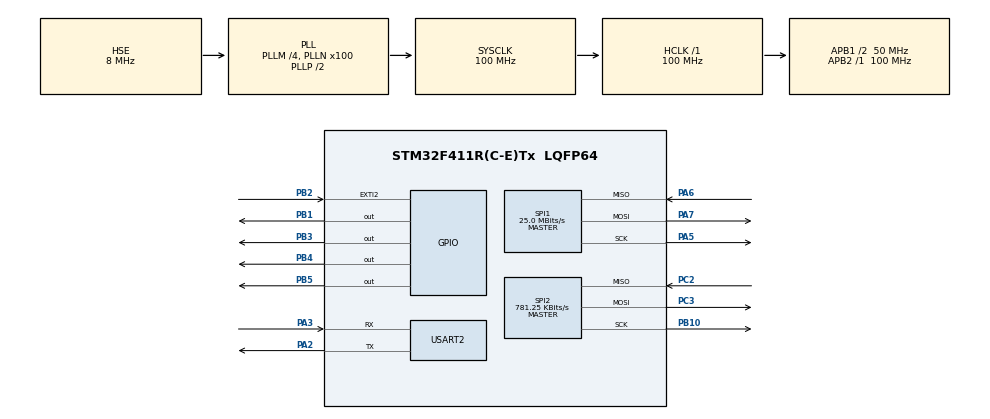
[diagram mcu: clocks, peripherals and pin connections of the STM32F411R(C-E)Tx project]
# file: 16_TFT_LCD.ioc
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Mcu.Family=STM32F4
Mcu.Name=STM32F411R(C-E)Tx
Mcu.Package=LQFP64
NVIC.EXTI2_IRQn=true\:0\:0\:false\:false\:true\:true\:true\:true
NVIC.PriorityGroup=NVIC_PRIORITYGROUP_4
PA13.Mode=Serial_Wire
PA13.Signal=SYS_JTMS-SWDIO
PA14.Mode=Serial_Wire
PA14.Signal=SYS_JTCK-SWCLK
PA2.Mode=Asynchronous
PA2.Signal=USART2_TX
PA3.Mode=Asynchronous
PA3.Signal=USART2_RX
PA5.Mode=Full_Duplex_Master
PA5.Signal=SPI1_SCK
PA6.Mode=Full_Duplex_Master
PA6.Signal=SPI1_MISO
PA7.Mode=Full_Duplex_Master
PA7.Signal=SPI1_MOSI
PB1.Signal=GPIO_Output
PB10.Mode=Full_Duplex_Master
PB10.Signal=SPI2_SCK
PB2.GPIO_ModeDefaultEXTI=GPIO_MODE_IT_FALLING
PB2.GPIO_PuPd=GPIO_PULLUP
PB2.Signal=GPXTI2
PB3.Signal=GPIO_Output
PB4.Signal=GPIO_Output
PB5.Signal=GPIO_Output
PC2.Mode=Full_Duplex_Master
PC2.Signal=SPI2_MISO
PC3.Mode=Full_Duplex_Master
PC3.Signal=SPI2_MOSI
PH0\ -\ OSC_IN.Mode=HSE-External-Oscillator
PH0\ -\ OSC_IN.Signal=RCC_OSC_IN
PH1\ -\ OSC_OUT.Mode=HSE-External-Oscillator
PH1\ -\ OSC_OUT.Signal=RCC_OSC_OUT
ProjectManager.HeapSize=0x200
ProjectManager.StackSize=0x400
ProjectManager.TargetToolchain=STM32CubeIDE
RCC.48MHZClocksFreq_Value=50000000
RCC.AHBFreq_Value=100000000
RCC.APB1CLKDivider=RCC_HCLK_DIV2
RCC.APB1Freq_Value=50000000
RCC.APB1TimFreq_Value=100000000
RCC.APB2Freq_Value=100000000
RCC.APB2TimFreq_Value=100000000
RCC.CortexFreq_Value=100000000
RCC.HCLKFreq_Value=100000000
RCC.HSE_VALUE=8000000
RCC.HSI_VALUE=16000000
RCC.LSE_VALUE=32768
RCC.PLLM=4
RCC.PLLN=100
RCC.PLLSourceVirtual=RCC_PLLSOURCE_HSE
RCC.SYSCLKFreq_VALUE=100000000
RCC.SYSCLKSource=RCC_SYSCLKSOURCE_PLLCLK
RCC.VCOOutputFreq_Value=200000000
SPI1.BaudRatePrescaler=SPI_BAUDRATEPRESCALER_4
SPI1.CalculateBaudRate=25.0 MBits/s
SPI1.Direction=SPI_DIRECTION_2LINES
SPI1.Mode=SPI_MODE_MASTER
SPI1.VirtualType=VM_MASTER
SPI2.BaudRatePrescaler=SPI_BAUDRATEPRESCALER_64
SPI2.CalculateBaudRate=781.25 KBits/s
SPI2.Direction=SPI_DIRECTION_2LINES
SPI2.Mode=SPI_MODE_MASTER
SPI2.VirtualType=VM_MASTER
USART2.VirtualMode=VM_ASYNC
board=custom

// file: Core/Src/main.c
/* USER CODE BEGIN Header */
/**
  ******************************************************************************
  * @file           : main.c
  * @brief          : Main program body
  ******************************************************************************
  * @attention
  *
  * Copyright (c) 2025 STMicroelectronics.
  * All rights reserved.
  *
  * This software is licensed under terms that can be found in the LICENSE file
  * in the root directory of this software component.
  * If no LICENSE file comes with this software, it is provided AS-IS.
  *
  ******************************************************************************
  */
/* USER CODE END Header */
#include "main.h"
#include "spi.h"
#include "usart.h"
#include "gpio.h"

/* USER CODE BEGIN Includes */
#include <stdio.h>

#include "lcd.h"
#include "lcdfont.h"
#include "lcdtouch.h"
/* USER CODE END Includes */

/* USER CODE BEGIN PV */
char buf[32];
uint16_t tx = 0, ty = 0;
uint8_t lcdTouch;
/* USER CODE END PV */

void SystemClock_Config(void);
/* USER CODE BEGIN PFP */
// printf 같은 함수 출력 → UART Redirection
int _write(int file, unsigned char* p, int len) {
    HAL_StatusTypeDef status = HAL_UART_Transmit(&huart2, p, len, 100);
    return (status == HAL_OK ? len : 0);
}

void HAL_GPIO_EXTI_Callback(uint16_t GPIO_Pin) {
	if (GPIO_Pin == GPIO_PIN_2) {
		if (lcdTouch == 0) {
			lcdTouch = 1;
		}
	}
}
/* USER CODE END PFP */

int main(void)
{

  /* MCU Configuration--------------------------------------------------------*/

  /* Reset of all peripherals, Initializes the Flash interface and the Systick. */
  HAL_Init();

  /* Configure the system clock */
  SystemClock_Config();

  /* Initialize all configured peripherals */
  MX_GPIO_Init();
  MX_SPI1_Init();
  MX_USART2_UART_Init();
  MX_SPI2_Init();
  /* USER CODE BEGIN 2 */
  ILI9341_Init();
  TP_Init();
  ILI9341_FillScreen(COLOR_BLACK);
  ILI9341_DrawString(10,10,"Touch Test", COLOR_YELLOW, COLOR_BLACK);
  /* USER CODE END 2 */

  /* Infinite loop */
  /* USER CODE BEGIN WHILE */
  while (1)
  {
	  if (TP_GetXY(&tx, &ty)) {
		  tx = 240 - tx;
		  ty = 320 - ty;

		  if (tx >= 235)		tx = 235;
		  else if (tx <= 5)	tx = 5;

		  if (ty >= 315)		ty = 315;
		  else if (ty <= 5)	ty = 5;

		  sprintf(buf,"X:%03d Y:%03d", tx, ty);
		  ILI9341_DrawString(0, 300, buf, COLOR_GREEN, COLOR_BLACK);
		  ILI9341_DrawRect(tx-3, ty-3, 7, 7, COLOR_RED);
		  HAL_Delay(100);
	  }

//	  if (TP_GetXY(&tx, &ty)) {
//		  char buf[32];
//		  tx = 240 - tx;
//		  ty = 320 - ty;
//		  sprintf(buf,"X:%03d Y:%03d", tx, ty);
//		  ILI9341_DrawString(0, 300, buf, COLOR_GREEN, COLOR_BLACK);
//		  ILI9341_DrawRect(tx-3, ty-3, 7, 7, COLOR_RED);
//		  HAL_Delay(100);
//	  }

//	  ILI9341_FillScreen(COLOR_BLACK);
//	  for (uint8_t i = 0; i < 21; i++) {
//		  ILI9341_DrawRect(0, (5 + (i * 15)), 240, 2, COLOR_RED);
//		  ILI9341_DrawRect(0, (10 + (i * 15)), 240, 2, COLOR_GREEN);
//		  ILI9341_DrawRect(0, (15 + (i * 15)), 240, 2, COLOR_BLUE);
//		  HAL_Delay(500);
//	  }

//	  ILI9341_FillScreen(COLOR_BLACK);
//	  ILI9341_DrawString(10, 10, "Hello STM32!", COLOR_YELLOW, COLOR_BLACK);
//	  ILI9341_DrawRect(5, 5, 120, 40, COLOR_RED);
//	  HAL_Delay(1000);

//	  ILI9341_FillScreen(COLOR_RED);
//	  HAL_Delay(1000);
//	  ILI9341_FillScreen(COLOR_GREEN);
//	  HAL_Delay(1000);
//	  ILI9341_FillScreen(COLOR_BLUE);
//	  HAL_Delay(1000);
    /* USER CODE END WHILE */

  }
}

void SystemClock_Config(void)
{
  RCC_OscInitTypeDef RCC_OscInitStruct = {0};
  RCC_ClkInitTypeDef RCC_ClkInitStruct = {0};

  /** Configure the main internal regulator output voltage
  */
  __HAL_RCC_PWR_CLK_ENABLE();
  __HAL_PWR_VOLTAGESCALING_CONFIG(PWR_REGULATOR_VOLTAGE_SCALE1);

  /** Initializes the RCC Oscillators according to the specified parameters
  * in the RCC_OscInitTypeDef structure.
  */
  RCC_OscInitStruct.OscillatorType = RCC_OSCILLATORTYPE_HSE;
  RCC_OscInitStruct.HSEState = RCC_HSE_ON;
  RCC_OscInitStruct.PLL.PLLState = RCC_PLL_ON;
  RCC_OscInitStruct.PLL.PLLSource = RCC_PLLSOURCE_HSE;
  RCC_OscInitStruct.PLL.PLLM = 4;
  RCC_OscInitStruct.PLL.PLLN = 100;
  RCC_OscInitStruct.PLL.PLLP = RCC_PLLP_DIV2;
  RCC_OscInitStruct.PLL.PLLQ = 4;
  if (HAL_RCC_OscConfig(&RCC_OscInitStruct) != HAL_OK)
  {
    Error_Handler();
  }

  /** Initializes the CPU, AHB and APB buses clocks
  */
  RCC_ClkInitStruct.ClockType = RCC_CLOCKTYPE_HCLK|RCC_CLOCKTYPE_SYSCLK
                              |RCC_CLOCKTYPE_PCLK1|RCC_CLOCKTYPE_PCLK2;
  RCC_ClkInitStruct.SYSCLKSource = RCC_SYSCLKSOURCE_PLLCLK;
  RCC_ClkInitStruct.AHBCLKDivider = RCC_SYSCLK_DIV1;
  RCC_ClkInitStruct.APB1CLKDivider = RCC_HCLK_DIV2;
  RCC_ClkInitStruct.APB2CLKDivider = RCC_HCLK_DIV1;

  if (HAL_RCC_ClockConfig(&RCC_ClkInitStruct, FLASH_LATENCY_3) != HAL_OK)
  {
    Error_Handler();
  }
}

void Error_Handler(void)
{
  __disable_irq();
  while (1)
  {
  }
}
